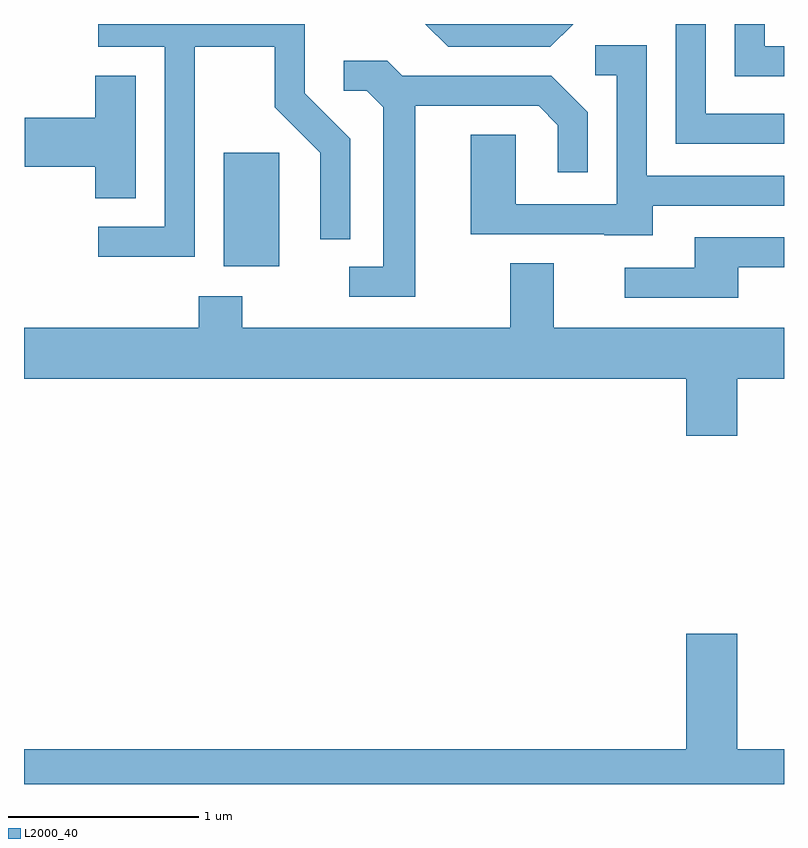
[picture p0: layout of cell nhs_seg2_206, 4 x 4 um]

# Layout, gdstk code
import gdstk
lib = gdstk.Library(unit=1e-6, precision=1e-09)
def R(c, l, rs):  # rectangles x0, y0, x1, y1
    for r in rs: c.add(gdstk.rectangle(r[:2], r[2:], *l))
def P(c, l, *ps):  # polygons
    for p in ps: c.add(gdstk.Polygon(p, *l))
L2000_40 = (2000, 40)

nhs_seg2_206 = lib.new_cell('nhs_seg2_206')
R(nhs_seg2_206, L2000_40, [(192.661,984.526,192.954,985.124)])
P(nhs_seg2_206, L2000_40, [(192.509,985.681),(192.931,985.681),(192.931,985.364),(193.171,985.124),(193.171,984.668),(193.329,984.668),(193.329,985.197),(193.089,985.437),(193.089,985.802),(192.003,985.802),(192.003,985.681),(192.351,985.681),(192.351,984.734),(192.003,984.734),(192.003,984.576),(192.509,984.576)],
  [(194.503,985.802),(193.723,985.802),(193.844,985.681),(194.382,985.681)],
  [(195.611,985.329),(195.199,985.329),(195.199,985.802),(195.041,985.802),(195.041,985.171),(195.611,985.171)],
  [(195.611,985.684),(195.509,985.684),(195.509,985.802),(195.351,985.802),(195.351,985.526),(195.611,985.526)],
  [(194.919,984.846),(195.611,984.846),(195.611,985.004),(194.889,985.004),(194.889,985.689),(194.618,985.689),(194.618,985.531),(194.731,985.531),(194.731,984.854),(194.199,984.854),(194.199,985.219),(193.961,985.219),(193.961,984.696),(194.665,984.696),(194.665,984.691),(194.919,984.691)],
  [(193.669,985.371),(194.319,985.371),(194.421,985.269),(194.421,985.023),(194.579,985.023),(194.579,985.337),(194.387,985.529),(193.602,985.529),(193.522,985.609),(193.293,985.609),(193.293,985.451),(193.414,985.451),(193.501,985.364),(193.501,984.524),(193.323,984.524),(193.323,984.366),(193.669,984.366)],
  [(192.199,985.529),(191.986,985.529),(191.986,985.309),(191.616,985.309),(191.616,985.051),(191.986,985.051),(191.986,984.886),(192.199,984.886)],
  [(195.369,984.521),(195.611,984.521),(195.611,984.679),(195.141,984.679),(195.141,984.519),(194.773,984.519),(194.773,984.361),(195.369,984.361)],
  [(195.364,983.936),(195.611,983.936),(195.611,984.204),(194.399,984.204),(194.399,984.544),(194.171,984.544),(194.171,984.204),(192.759,984.204),(192.759,984.369),(192.531,984.369),(192.531,984.204),(191.611,984.204),(191.611,983.936),(195.096,983.936),(195.096,983.636),(195.364,983.636)],
  [(195.611,981.984),(195.364,981.984),(195.364,982.594),(195.096,982.594),(195.096,981.984),(191.611,981.984),(191.611,981.802),(195.611,981.802)])

lib.write_gds('nhs_seg2_206.gds')
